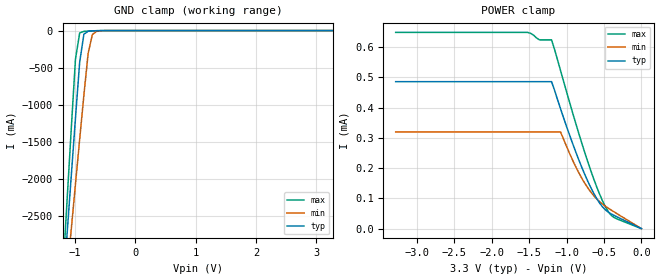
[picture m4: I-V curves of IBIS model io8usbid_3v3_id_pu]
| [Disclaimer]  This information is for modeling purpose only and is
| not guaranteed.
| The information is subject to change without notice.
| [Copyright] Copyright 2018 STMicroelectronics Inc.
| From stm32l451_452_462_lqfp64.ibs, stm32l451_452_462_lqfp64, STMicroelectronics
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|   Model io8usbid_3v3_id_pu
[Model]  io8usbid_3v3_id_pu
Model_type Input
Polarity   Non-Inverting
Vinl =   0.540000V
Vinh =   1.260000V
C_comp   2.116400pF   2.092900pF   2.152900pF
[Temperature Range]   25.000000   0.125000k   -40.000000
[Pullup Reference]   3.300000V   2.700000V   3.600000V
[Pulldown Reference]   0.0V   0.0V   0.0V
[POWER Clamp Reference]   3.300000V   2.700000V   3.600000V
[GND Clamp Reference]   0.0V   0.0V   0.0V
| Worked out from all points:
|   GND clamp passes 1 mA (typ) near -0.59 V on its own axis
[GND_clamp]
|Voltage   I(typ)   I(min)   I(max)
-3.3V     -9.914A    -9.595A    -9.188A
-1.2V     -3.541A    -3.911A    -3.279A
-1.13V    -2.75A     -3.295A    -2.301A
-1.06V    -1.963A    -2.68A     -1.33A
-990mV    -1.183A    -2.069A    -386.7mA
-920mV    -424.7mA   -1.463A    -31.42mA
-850mV    -49.12mA   -868.7mA   -10.48mA
-780mV    -9.121mA   -308.3mA   -6.715mA
-710mV    -3.648mA   -53.81mA   -3.986mA
-640mV    -1.726mA   -11.03mA   -1.885mA
-430mV    -22.46uA   -116.8uA   -9.748uA
3.28V     0A         0A         0A
[POWER_clamp]
|Voltage   I(typ)   I(min)   I(max)
-3.28V    486.2uA    319.9uA    649.2uA
-1.52V    486.2uA    319.9uA    649.2uA
-1.36V    486.2uA    319.9uA    624.4uA
-1.2V     486.2uA    319.9uA    624.4uA
-1.08V    396.5uA    319.9uA    523.1uA
-920mV    282.6uA    227.1uA    384.4uA
-800mV    205.1uA    168.4uA    285.8uA
-640mV    118.3uA    110.1uA    166.6uA
-520mV    72.17uA    81.22uA    92.15uA
-440mV    54.23uA    67.17uA    54.98uA
-400mV    48.29uA    60.81uA    43.12uA
0V        0A         0A         0A
